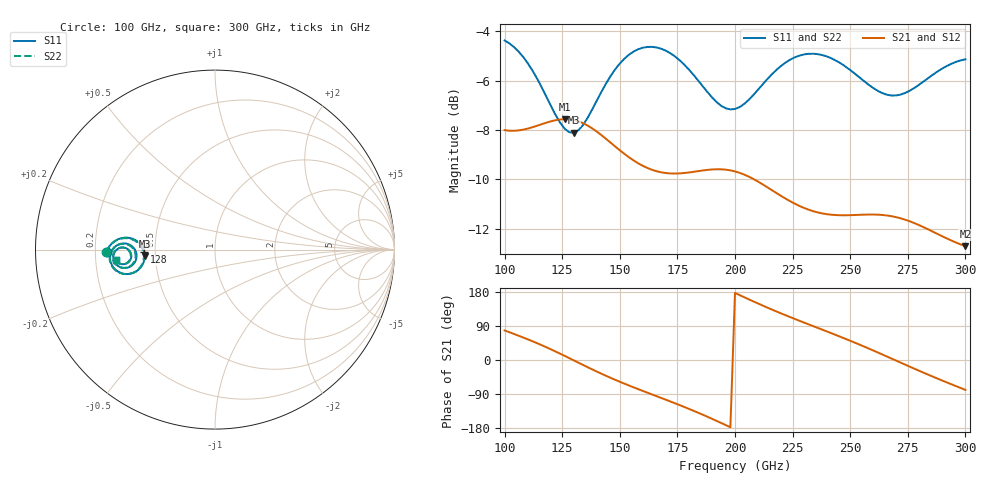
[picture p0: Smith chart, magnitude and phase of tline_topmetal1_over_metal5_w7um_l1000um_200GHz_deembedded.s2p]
! Created with skrf 2.2.0 (http://scikit-rf.org).
# GHz S DB R 50.0
! Port[1] = P1
! Port[2] = P2
!freq dBS11 angS11 dBS21 angS21 dBS12 angS12 dBS22 angS22
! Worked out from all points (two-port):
!   101 points, 100 GHz to 300 GHz, reference 50 ohm
!   highest |S21| = -7.56 dB at 126 GHz (marker M1); lowest = -12.7 dB at 300 GHz (marker M2)
!   |S21| within 3 dB of the highest: start of sweep to 218.1 GHz
!   lowest |S11| = -8.1 dB at 130 GHz (marker M3), VSWR 2.29, Z = 21.8 - j1.82 ohm
!   |S11| at or under -10 dB: nowhere
!   |S22| runs from -8.0 to -4.3 dB; largest |S21 - S12| = 6.9e-14
!   S11 on the Smith chart (normalised r, x): 100 GHz: 0.25, -0.01; 128 GHz: 0.43, -0.01; 300 GHz: 0.29, -0.05
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100  -4.37 -178.7  -8.01 78.0  -8.01 78.0  -4.35 -178.5
114  -5.90 172.4  -7.83 44.6  -7.83 44.6  -5.85 172.8
126  -7.94 179.1  -7.56 11.1  -7.56 11.1  -7.85 179.3
128  -8.09 -178.0  -7.57 5.1  -7.57 5.1  -7.99 -177.8
130  -8.11 -174.8  -7.60 -0.9  -7.60 -0.9  -8.02 -174.7
134  -7.80 -169.1  -7.72 -12.9  -7.72 -12.9  -7.71 -169.1
142  -6.46 -164.1  -8.21 -36.1  -8.21 -36.1  -6.40 -164.2
150  -5.31 -166.2  -8.82 -57.4  -8.82 -57.4  -5.26 -166.3
160  -4.67 -172.6  -9.45 -81.6  -9.45 -81.6  -4.63 -172.5
168  -4.71 -177.9  -9.71 -100.2  -9.71 -100.2  -4.67 -177.8
184  -6.00 176.1  -9.67 -139.1  -9.67 -139.1  -5.93 176.4
192  -6.87 178.8  -9.59 -160.6  -9.59 -160.6  -6.78 179.0
200  -7.15 -174.6  -9.68 176.9  -9.68 176.9  -7.05 -174.6
208  -6.58 -169.3  -9.99 154.5  -9.99 154.5  -6.49 -169.5
216  -5.75 -168.5  -10.44 133.2  -10.44 133.2  -5.68 -168.7
224  -5.15 -171.0  -10.89 113.1  -10.89 113.1  -5.10 -171.1
234  -4.91 -175.6  -11.29 89.2  -11.29 89.2  -4.87 -175.7
250  -5.57 178.9  -11.45 50.8  -11.45 50.8  -5.52 178.9
260  -6.30 179.8  -11.42 25.1  -11.42 25.1  -6.24 179.8
268  -6.60 -176.5  -11.49 3.6  -11.49 3.6  -6.54 -176.5
284  -5.89 -170.9  -12.03 -39.1  -12.03 -39.1  -5.84 -171.0
300  -5.14 -174.1  -12.71 -78.8  -12.71 -78.8  -5.10 -174.1
